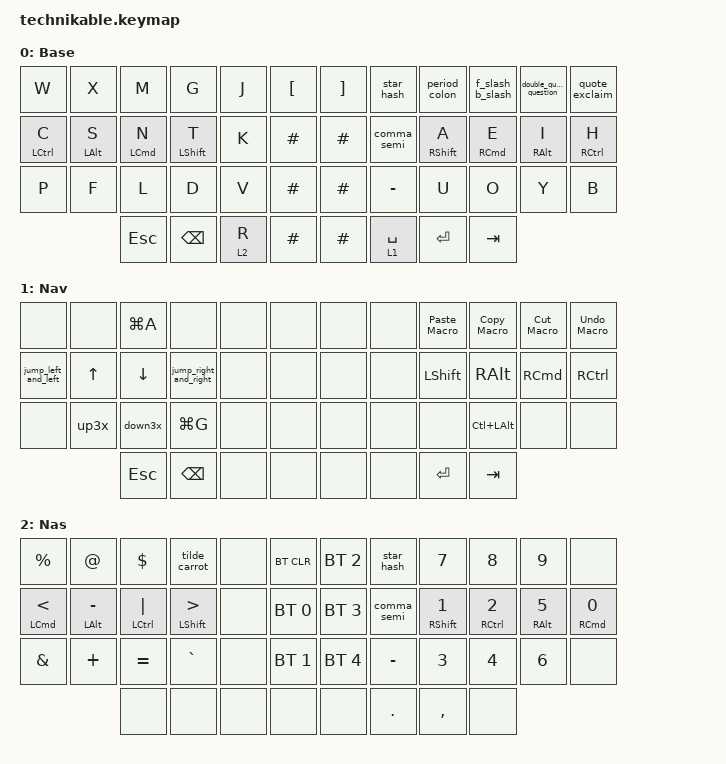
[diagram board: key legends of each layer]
#include <behaviors.dtsi>
#include <dt-bindings/zmk/keys.h>
#include <dt-bindings/zmk/bt.h>
#include <dt-bindings/zmk/outputs.h>

#define bas_l 0
#define nav_l 1
#define nas_l 2



 
 // this is the root part, everything comes from this.
 / {
     chosen {
        zmk,matrix_transform = &ortho_transform;
     };
 

     macros {
        // (TH, CH, SH, WH, GH, PH) are realized with combos (TN, CT, SN, WM, GM, FD
            TH_Macro: TH_Macro { //how does this work with 'The,' in the sense... capitalization?
                compatible = "zmk,behavior-macro";
                #binding-cells = <0>;
                bindings
                    = <&kp T &kp H>
                    ;
            };
            Capital_T_TH_Macro: Captial_T_TH_Macro { 
                compatible = "zmk,behavior-macro";
                #binding-cells = <0>;
                bindings
                    = <&kp LS(T) &kp H>
                    ;
            };
            CH_Macro: CH_Macro { 
                compatible = "zmk,behavior-macro";
                #binding-cells = <0>;
                bindings
                    = <&kp C &kp H>
                    ;
            };
            Capital_C_CH_Macro: Capital_C_CH_Macro { 
                compatible = "zmk,behavior-macro";
                #binding-cells = <0>;
                bindings
                    = <&kp LS(C) &kp H>
                    ;
            };
            SH_Macro: SH_Macro { 
                compatible = "zmk,behavior-macro";
                #binding-cells = <0>;
                bindings
                    = <&kp S &kp H>
                    ;
            };
            Capital_S_SH_Macro: Capital_S_SH_Macro { 
                compatible = "zmk,behavior-macro";
                #binding-cells = <0>;
                bindings
                    = <&kp LS(S) &kp H>
                    ;
            };
            WH_Macro: WH_Macro { 
                compatible = "zmk,behavior-macro";
                #binding-cells = <0>;
                bindings
                    = <&kp W &kp H>
                    ;
            };
            Capital_W_WH_Macro: Capital_W_WH_Macro { 
                compatible = "zmk,behavior-macro";
                #binding-cells = <0>;
                bindings
                    = <&kp LS(W) &kp H>
                    ;
            };
            GH_Macro: GH_Macro { 
                compatible = "zmk,behavior-macro";
                #binding-cells = <0>;
                bindings
                    = <&kp G &kp H>
                    ;
            };
            Capital_G_GH_Macro: Capital_G_GH_Macro { 
                compatible = "zmk,behavior-macro";
                #binding-cells = <0>;
                bindings
                    = <&kp LS(G) &kp H>
                    ;
            };
            PH_Macro: PH_Macro { 
                compatible = "zmk,behavior-macro";
                #binding-cells = <0>;
                bindings
                    = <&kp P &kp H>
                    ;
            };
            Capital_P_PH_Macro: Capital_P_PH_Macro { 
                compatible = "zmk,behavior-macro";
                #binding-cells = <0>;
                bindings
                    = <&kp LS(P) &kp H>
                    ;
            };
            Qu_Macro: Qu_Macro {
                compatible = "zmk,behavior-macro";
                #binding-cells = <0>;
                bindings
                    = <&kp Q &kp U>
                    ;
            };
            Capital_Q_Qu_Macro: Capital_Q_Qu_Macro {
                compatible = "zmk,behavior-macro";
                #binding-cells = <0>;
                bindings
                    = <&kp LS(Q) &kp U>
                    ;
            };
                // I DON'T EVEN NEED MACROS FOR THESE LOL, just make them normal KPs
            Copy_Macro: Copy_Macro {
                compatible = "zmk,behavior-macro";
                #binding-cells = <0>;
                bindings
                    = <&kp LG(C)>
                    ;
            };
             Paste_Macro: Paste_Macro {
                compatible = "zmk,behavior-macro";
                #binding-cells = <0>;
                bindings
                = <&kp LG(V)>
                ;
            };
            Undo_Macro: Undo_Macro {
                compatible = "zmk,behavior-macro";
                #binding-cells = <0>;
                bindings
                = <&kp LG(Z)>
                ;
            };
            Cut_Macro: Cut_Macro {
                compatible = "zmk,behavior-macro";
                #binding-cells = <0>;
                bindings
                    = <&kp LG(X)>
                    ;
            };
            up3x: up3x { // to add?
                compatible = "zmk,behavior-macro";
                #binding-cells = <0>;
                bindings
                    = <&kp UP &kp UP &kp UP>
                    ;
            };
            down3x: down3x { // to add?
                compatible = "zmk,behavior-macro";
                #binding-cells = <0>;
                bindings
                    = <&kp DOWN &kp DOWN &kp DOWN>
                    ;
            };
        };

     combos {
        compatible = "zmk,combos";

        combo_Z {
            timeout-ms = <50>;
            key-positions = <0 1>; // G+J
            bindings = <&kp Z>; 
            layers = <0>; //limited to only base layer
            };
        combo_Qu {
            timeout-ms = <50>;
            key-positions = <3 1>; //G+X
            bindings = <&qu_mod_morph>;  //output my macro
            layers = <0>; //limited to only base layer
            };

        // H DIGRAPHS
        combo_TH {
            timeout-ms = <50>;
            key-positions = <14 15>; //N+T
            bindings = <&th_mod_morph>;  //output my macro
            layers = <0>; //limited to only base layer
            };   
        combo_CH {
            timeout-ms = <50>;
            key-positions = <12 15>; //C+T
            bindings = <&ch_mod_morph>;  //output my macro
            layers = <0>; //limited to only base layer
            };
        combo_SH {
            timeout-ms = <50>;
            key-positions = <13 14>; //S+N
            bindings = <&sh_mod_morph>;  //output my macro
            layers = <0>; //limited to only base layer
            };
        combo_WH {
            timeout-ms = <50>;
            key-positions = <1 2>; //W+M
            bindings = <&wh_mod_morph>;  //output my macro
            layers = <0>; //limited to only base layer
            };
        combo_GH {
            timeout-ms = <50>;
            key-positions = <2 3>; //G+M
            bindings = <&gh_mod_morph>;  //output my macro
            layers = <0>; //limited to only base layer
            };
        combo_PH {
            timeout-ms = <50>;
            key-positions = <25 27>; //F+D
            bindings = <&ph_mod_morph>;  //output my macro
            layers = <0>; //limited to only base layer
            };
        combo_curly {
            timeout-ms = <25>; //needs to be short!
            key-positions = <21 22>; //E + I
            bindings = <&curly_mod_morph>;  
            layers = <0>; //limited to only base layer
            };
        combo_bracket {
            timeout-ms = <25>; //needs to be short!
            key-positions = <20 22>; //A + I
            bindings = <&bracket_mod_morph>;  
            layers = <0>; //limited to only base layer
            };
        combo_parenthesis {
            timeout-ms = <25>; //needs to be short!
            key-positions = <20 21>; //A + E
            bindings = <&parenthesis_mod_morph>;  
            layers = <0>; //limited to only base layer
            };
        };

        behaviors {

            jump_left_and_left: jump_left_and_left {
                compatible = "zmk,behavior-mod-morph";
                #binding-cells = <0>;
                bindings = <&jump_left_and_cmd_left>, <&kp LEFT>;
                mods = <(MOD_RALT)>;
            };
            jump_left_and_cmd_left: jump_left_and_cmd_left {
                compatible = "zmk,behavior-mod-morph";
                #binding-cells = <0>;
                bindings = <&kp LA(LEFT)>, <&kp LG(LEFT)>;
                mods = <(MOD_LGUI | MOD_RGUI)>;
            };
            jump_right_and_right: jump_right_and_right {
                compatible = "zmk,behavior-mod-morph";
                #binding-cells = <0>;
                bindings = <&jump_right_and_cmd_right>, <&kp RIGHT>;
                mods = <(MOD_RALT)>;
            };
            jump_right_and_cmd_right: jump_right_and_cmd_right {
                compatible = "zmk,behavior-mod-morph";
                #binding-cells = <0>;
                bindings = <&kp LA(RIGHT)>, <&kp LG(RIGHT)>;
                mods = <(MOD_LGUI | MOD_RGUI)>;
            };


            

            rh_HRMs: rh_HRMs {
                compatible = "zmk,behavior-hold-tap";
                flavor = "balanced"; // like qmk PERMISSIVE_HOLD
                tapping-term-ms = <280>; // triggers HOLD when time expires, or another key is pressed and released
                quick-tap-ms = <175>;                // repeat on tap-into-hold
                require-prior-idle-ms = <150>; // this removes the delay when typing quickly
                #binding-cells = <2>;
                bindings = <&kp>, <&kp>; //THIS IS FOR THE TWO KPS
                hold-trigger-key-positions = <0 1 2 3 4 5 12 13 14 15 16 17 24 25 26 27 28 29 36 37 38 39 40 41 42 43>; // all left hand and thumbs. LIKE ACHORDIAN. EVERYTHING EXCEPT WHAT I WANT
                hold-trigger-on-release;       // delay positional check until key-release
            };
            lh_HRMs: lh_HRMs {
                compatible = "zmk,behavior-hold-tap";
                flavor = "balanced";
                tapping-term-ms = <280>;
                quick-tap-ms = <175>;                // repeat on tap-into-hold
                require-prior-idle-ms = <150>;
                #binding-cells = <2>;
                bindings = <&kp>, <&kp>;
                hold-trigger-key-positions = <6 7 8 9 10 11 18 19 20 21 22 23 30 31 32 33 34 35 36 37 38 39 40 41 42 43>; // all right hand and thumb
                hold-trigger-on-release;             // delay positional check until key-release
            };
            //going to try to make thumb layer!
            left_thumb_HRM:left_thumb_HRM {
                compatible = "zmk,behavior-hold-tap";
                flavor = "balanced";
                tapping-term-ms = <280>;
                quick-tap-ms = <175>;                // repeat on tap-into-hold
                require-prior-idle-ms = <150>;
                #binding-cells = <2>;
                bindings = <&mo>, <&kp>;
                hold-trigger-key-positions = <0 1 2 3 4 5 6 7 8 9 10 11 12 13 14 15 16 17 18 19 20 21 22 23 24 25 26 27 28 29 30 31 32 33 34 35 40 41 42 43>; // All hands, right thumb
                hold-trigger-on-release;     
            };
            right_thumb_HRM: right_thumb_HRM {
                compatible = "zmk,behavior-hold-tap";
                flavor = "balanced";
                tapping-term-ms = <280>;
                quick-tap-ms = <175>;                // repeat on tap-into-hold
                require-prior-idle-ms = <150>;
                #binding-cells = <2>;
                bindings = <&mo>, <&kp>;
                hold-trigger-key-positions = <0 1 2 3 4 5 6 7 8 9 10 11 12 13 14 15 16 17 18 19 20 21 22 23 24 25 26 27 28 29 30 31 32 33 34 35 36 37 38 39>; // All hands,  left thumb
                hold-trigger-on-release;  
            };
            comma_semi: comma_semi {
                compatible = "zmk,behavior-mod-morph";
                #binding-cells = <0>;
                bindings = <&kp COMMA>, <&kp SEMICOLON>;
                mods = <(MOD_LSFT|MOD_RSFT)>;
            };
            star_hash: star_hash {
                compatible = "zmk,behavior-mod-morph";
                #binding-cells = <0>;
                bindings = <&kp ASTERISK>, <&kp HASH>;
                mods = <(MOD_LSFT|MOD_RSFT)>;
            };
            period_colon: period_colon {
                compatible = "zmk,behavior-mod-morph";
                #binding-cells = <0>;
                bindings = <&kp PERIOD>, <&kp COLON>;
                mods = <(MOD_LSFT|MOD_RSFT)>;
            };
            f_slash_b_slash: f-slash_b-slash {
                compatible = "zmk,behavior-mod-morph";
                #binding-cells = <0>;
                bindings = <&kp SLASH>, <&kp BACKSLASH>;
                mods = <(MOD_LSFT|MOD_RSFT)>;
            };
            double_quotes_question: double_quotes_question {
                compatible = "zmk,behavior-mod-morph";
                #binding-cells = <0>;
                bindings = <&kp DOUBLE_QUOTES>, <&kp QUESTION>;
                mods = <(MOD_LSFT|MOD_RSFT)>;
            };
            quote_exclaim: quote_exclaim {
                compatible = "zmk,behavior-mod-morph";
                #binding-cells = <0>;
                bindings = <&kp SQT>, <&kp EXCLAMATION>;
                mods = <(MOD_LSFT|MOD_RSFT)>;
            };
            tilde_carrot: tilde_carrot {
                compatible = "zmk,behavior-mod-morph";
                #binding-cells = <0>;
                bindings = <&kp TILDE>, <&kp CARET>;
                mods = <(MOD_LSFT|MOD_RSFT)>;
            };
            th_mod_morph: th_mod_morph {
                compatible = "zmk,behavior-mod-morph";
                #binding-cells = <0>;
                bindings = <&TH_Macro>, <&Capital_T_TH_Macro>;
                mods = <(MOD_LSFT|MOD_RSFT)>;
            };
            ch_mod_morph: ch_mod_morph {
                compatible = "zmk,behavior-mod-morph";
                #binding-cells = <0>;
                bindings = <&CH_Macro>, <&Capital_C_CH_Macro>;
                mods = <(MOD_LSFT|MOD_RSFT)>;
            };
            sh_mod_morph: sh_mod_morph {
                compatible = "zmk,behavior-mod-morph";
                #binding-cells = <0>;
                bindings = <&SH_Macro>, <&Capital_S_SH_Macro>;
                mods = <(MOD_LSFT|MOD_RSFT)>;
            };
            ph_mod_morph: ph_mod_morph {
                compatible = "zmk,behavior-mod-morph";
                #binding-cells = <0>;
                bindings = <&PH_Macro>, <&Capital_P_PH_Macro>;
                mods = <(MOD_LSFT|MOD_RSFT)>;
            };
            wh_mod_morph: wh_mod_morph {
                compatible = "zmk,behavior-mod-morph";
                #binding-cells = <0>;
                bindings = <&WH_Macro>, <&Capital_W_WH_Macro>;
                mods = <(MOD_LSFT|MOD_RSFT)>;
            };
            gh_mod_morph: gh_mod_morph {
                compatible = "zmk,behavior-mod-morph";
                #binding-cells = <0>;
                bindings = <&GH_Macro>, <&Capital_G_GH_Macro>;
                mods = <(MOD_LSFT|MOD_RSFT)>;
            };
            qu_mod_morph: qu_mod_morph {
                compatible = "zmk,behavior-mod-morph";
                #binding-cells = <0>;
                bindings = <&Qu_Macro>, <&Capital_Q_Qu_Macro>;
                mods = <(MOD_LSFT|MOD_RSFT)>;
            };
            curly_mod_morph: curly_mod_morph {
                compatible = "zmk,behavior-mod-morph";
                #binding-cells = <0>;
                bindings = <&kp LEFT_BRACE>, <&kp RIGHT_BRACE>;
                mods = <(MOD_LSFT|MOD_RSFT)>;
            };
            bracket_mod_morph: bracket_mod_morph {
                compatible = "zmk,behavior-mod-morph";
                #binding-cells = <0>;
                bindings = <&kp LEFT_BRACKET>, <&kp RIGHT_BRACKET>;
                mods = <(MOD_LSFT|MOD_RSFT)>;
            };
            parenthesis_mod_morph: parenthesis_mod_morph {
                compatible = "zmk,behavior-mod-morph";
                #binding-cells = <0>;
                bindings = <&kp LEFT_PARENTHESIS>, <&kp RIGHT_PARENTHESIS>;
                mods = <(MOD_LSFT|MOD_RSFT)>;
            };
        };

    keymap {
        compatible = "zmk,keymap";

        bas_l {
            label = "Base";
            bindings = <
  //pos0 1      2          3         4      5                            6                 7          8           9          10                 11     
  &kp W  &kp X  &kp M      &kp G     &kp J  &kp LEFT_BRACKET            &kp RIGHT_BRACKET  &star_hash   &period_colon  &f_slash_b_slash  &double_quotes_question  &quote_exclaim
  //12      13          14                      15                              16                17     18                             19                  20                              21                                  22                              23      
  &lh_HRMs LEFT_CONTROL C  &lh_HRMs LEFT_ALT S  &lh_HRMs LEFT_COMMAND N      &lh_HRMs LSHIFT T     &kp K  &kp HASH        &kp HASH           &comma_semi  &rh_HRMs RSHIFT A       &rh_HRMs RIGHT_COMMAND E      &rh_HRMs RIGHT_ALT I              &rh_HRMs RIGHT_CONTROL H
  // 24  25     26         27        28     29                          30                  31         32         33         34                 35
  &kp P  &kp F  &kp L      &kp D     &kp V  &kp HASH                    &kp HASH           &kp MINUS  &kp U       &kp O      &kp Y              &kp B
                        //36       37        38     39                40        41                 42         43
                        &kp ESCAPE  &kp BACKSPACE &left_thumb_HRM 2 R  &kp HASH  &kp HASH  &right_thumb_HRM 1 SPACE    &kp RET   &kp TAB
             >;                                                                                    //make sure nav layer is on thumb!
         };
        nav_l {
            label = "Nav";
            bindings = <
&none   &none  &kp LG(A)       &none      &none  &none          &none  &none  &Paste_Macro        &Copy_Macro          &Cut_Macro        &Undo_Macro
&jump_left_and_left  &kp UP  &kp DOWN       &jump_right_and_right      &none  &none          &none  &none  &kp LEFT_SHIFT  &kp RIGHT_ALT  &kp RIGHT_COMMAND  &kp RIGHT_CONTROL 
&none  &up3x     &down3x  &kp LG(G)        &none  &none          &none  &none  &none        &kp LC(LALT)         &none          &none
                        &kp ESCAPE     &kp BACKSPACE  &none   &none  &none  &none  &kp RET    &kp TAB
            >;
        };

                nas_l {
            label = "Nas";
            bindings = <
&kp PERCENT    &kp AT_SIGN  &kp DOLLAR  &tilde_carrot       &none  &bt BT_CLR           &bt BT_SEL 2  &star_hash   &kp N7        &kp N8        &kp NUMBER_9  &none
&lh_HRMs LEFT_COMMAND LESS_THAN  &lh_HRMs LEFT_ALT MINUS   &lh_HRMs LEFT_CONTROL PIPE    &lh_HRMs LSHIFT GREATER_THAN  &none  &bt BT_SEL 0         &bt BT_SEL 3  &comma_semi  &rh_HRMs RSHIFT NUMBER_1  &rh_HRMs RIGHT_CONTROL NUMBER_2  &rh_HRMs RIGHT_ALT N5 &rh_HRMs RIGHT_COMMAND N0
&kp AMPERSAND  &kp PLUS     &kp EQUAL   &kp GRAVE         &none  &bt BT_SEL 1         &bt BT_SEL 4  &kp MINUS      &kp NUMBER_3  &kp NUMBER_4  &kp NUMBER_6  &none
                            &none      &none            &none  &none         &none  &kp PERIOD    &kp COMMA      &none
            >;
        };
    };
};
